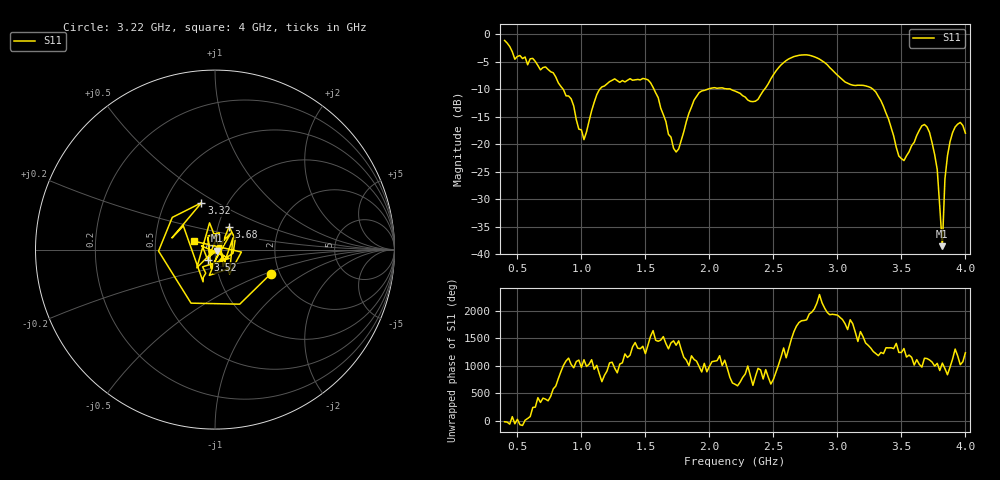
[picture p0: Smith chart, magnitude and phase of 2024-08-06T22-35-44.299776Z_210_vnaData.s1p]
!Created with skrf (http://scikit-rf.org).
# Hz S RI R 50.0
!freq ReS11 ImS11
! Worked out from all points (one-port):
!   181 points, 400 MHz to 4 GHz, reference 50 ohm
!   lowest |S11| = -38.6 dB at 3.82 GHz (marker M1), VSWR 1.02, Z = 51 - j0.586 ohm
!   |S11| at or under -10 dB: 857 MHz to 1.144 GHz (286.8 MHz wide, 28.7 % of centre); 1.567 GHz to 1.989 GHz (421.9 MHz wide, 23.7 % of centre); 3.277 GHz to end of sweep (the widest 3 of 4)
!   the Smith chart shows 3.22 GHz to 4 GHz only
!   S11 on the Smith chart (normalised r, x): 3.22 GHz: 1.80, -0.55; 3.32 GHz: 0.76, +0.43; 3.52 GHz: 0.92, -0.11; 3.68 GHz: 1.13, +0.30; 4 GHz: 0.79, +0.07
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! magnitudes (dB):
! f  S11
! 400 MHz  -1.1
! 480 MHz  -4.5
! 620 MHz  -4.4
! 860 MHz  -10.1
! 1.02 GHz  -19.2
! 1.14 GHz  -10.1
! 1.3 GHz  -8.8
! 1.54 GHz  -8.8
! 1.72 GHz  -20.8
! 1.76 GHz  -20.9
! 1.92 GHz  -10.6
! 2.2 GHz  -10.3
! 2.36 GHz  -12.2
! 2.66 GHz  -4.1
! 2.84 GHz  -4.3
! 3.1 GHz  -9.1
! 3.22 GHz  -9.4
! 3.32 GHz  -11.3
! 3.52 GHz  -23.0
! 3.56 GHz  -21.4
! 3.68 GHz  -16.4
! 3.72 GHz  -17.9
! 3.78 GHz  -24.6
! 3.82 GHz  -38.6
! 3.84 GHz  -26.4
! 3.88 GHz  -19.5
! 3.96 GHz  -16.1
! 4 GHz  -18.0
